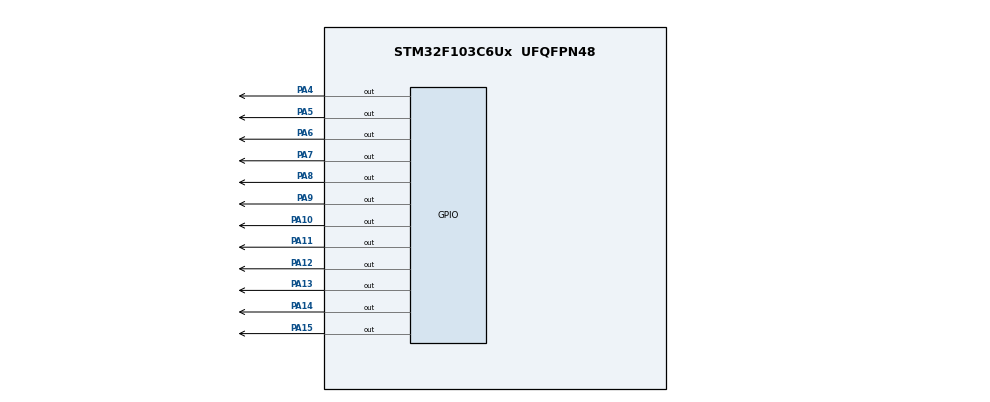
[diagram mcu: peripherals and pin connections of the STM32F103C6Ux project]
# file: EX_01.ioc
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Mcu.Family=STM32F1
Mcu.Name=STM32F103C6Ux
Mcu.Package=UFQFPN48
NVIC.PriorityGroup=NVIC_PRIORITYGROUP_4
PA10.Signal=GPIO_Output
PA11.Signal=GPIO_Output
PA12.Signal=GPIO_Output
PA13.Signal=GPIO_Output
PA14.Signal=GPIO_Output
PA15.Signal=GPIO_Output
PA4.Signal=GPIO_Output
PA5.Signal=GPIO_Output
PA6.Signal=GPIO_Output
PA7.Signal=GPIO_Output
PA8.Signal=GPIO_Output
PA9.Signal=GPIO_Output
ProjectManager.HeapSize=0x200
ProjectManager.StackSize=0x400
ProjectManager.TargetToolchain=STM32CubeIDE
RCC.APB1Freq_Value=8000000
RCC.APB2Freq_Value=8000000
VP_SYS_VS_ND.Mode=No_Debug
board=custom

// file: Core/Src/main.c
/* USER CODE BEGIN Header */
/**
  ******************************************************************************
  * @file           : main.c
  * @brief          : Main program body
  ******************************************************************************
  * @attention
  *
  * <h2><center>&copy; Copyright (c) 2026 STMicroelectronics.
  * All rights reserved.</center></h2>
  *
  * This software component is licensed by ST under BSD 3-Clause license,
  * the "License"; You may not use this file except in compliance with the
  * License. You may obtain a copy of the License at:
  *                        opensource.org/licenses/BSD-3-Clause
  *
  ******************************************************************************
  */
/* USER CODE END Header */
#include "main.h"

/* USER CODE BEGIN PV */
uint16_t LED[] = {
    0x0010,  // PA4
    0x0020,  // PA5
    0x0040,  // PA6
    0x0080,  // PA7
    0x0100,  // PA8
    0x0200,  // PA9
    0x0400,  // PA10
    0x0800,  // PA11
    0x1000,  // PA12
    0x2000,  // PA13
    0x4000,  // PA14
    0x8000   // PA15
};
/* USER CODE END PV */

void SystemClock_Config(void);
static void MX_GPIO_Init(void);

int main(void)
{

  /* MCU Configuration--------------------------------------------------------*/

  /* Reset of all peripherals, Initializes the Flash interface and the Systick. */
  HAL_Init();

  /* Configure the system clock */
  SystemClock_Config();

  /* Initialize all configured peripherals */
  MX_GPIO_Init();
  /* USER CODE BEGIN 2 */
  int counter = 0;
  /* USER CODE END 2 */

  /* Infinite loop */
  while (1)
  {
	  HAL_GPIO_WritePin(GPIOA, LED[counter], GPIO_PIN_RESET);
	  counter++;
	  if (counter == 12)
		  counter = 0;

	  HAL_GPIO_WritePin(GPIOA, LED[counter], GPIO_PIN_SET);
	  HAL_Delay(100);

  }
}

void SystemClock_Config(void)
{
  RCC_OscInitTypeDef RCC_OscInitStruct = {0};
  RCC_ClkInitTypeDef RCC_ClkInitStruct = {0};

  /** Initializes the RCC Oscillators according to the specified parameters
  * in the RCC_OscInitTypeDef structure.
  */
  RCC_OscInitStruct.OscillatorType = RCC_OSCILLATORTYPE_HSI;
  RCC_OscInitStruct.HSIState = RCC_HSI_ON;
  RCC_OscInitStruct.HSICalibrationValue = RCC_HSICALIBRATION_DEFAULT;
  RCC_OscInitStruct.PLL.PLLState = RCC_PLL_NONE;
  if (HAL_RCC_OscConfig(&RCC_OscInitStruct) != HAL_OK)
  {
    Error_Handler();
  }
  /** Initializes the CPU, AHB and APB buses clocks
  */
  RCC_ClkInitStruct.ClockType = RCC_CLOCKTYPE_HCLK|RCC_CLOCKTYPE_SYSCLK
                              |RCC_CLOCKTYPE_PCLK1|RCC_CLOCKTYPE_PCLK2;
  RCC_ClkInitStruct.SYSCLKSource = RCC_SYSCLKSOURCE_HSI;
  RCC_ClkInitStruct.AHBCLKDivider = RCC_SYSCLK_DIV1;
  RCC_ClkInitStruct.APB1CLKDivider = RCC_HCLK_DIV1;
  RCC_ClkInitStruct.APB2CLKDivider = RCC_HCLK_DIV1;

  if (HAL_RCC_ClockConfig(&RCC_ClkInitStruct, FLASH_LATENCY_0) != HAL_OK)
  {
    Error_Handler();
  }
}

static void MX_GPIO_Init(void)
{
  GPIO_InitTypeDef GPIO_InitStruct = {0};

  /* GPIO Ports Clock Enable */
  __HAL_RCC_GPIOA_CLK_ENABLE();

  /*Configure GPIO pin Output Level */
  HAL_GPIO_WritePin(GPIOA, GPIO_PIN_4|GPIO_PIN_5|GPIO_PIN_6|GPIO_PIN_7
                          |GPIO_PIN_8|GPIO_PIN_9|GPIO_PIN_10|GPIO_PIN_11
                          |GPIO_PIN_12|GPIO_PIN_13|GPIO_PIN_14|GPIO_PIN_15, GPIO_PIN_RESET);

  /*Configure GPIO pins : PA4 PA5 PA6 PA7
                           PA8 PA9 PA10 PA11
                           PA12 PA13 PA14 PA15 */
  GPIO_InitStruct.Pin = GPIO_PIN_4|GPIO_PIN_5|GPIO_PIN_6|GPIO_PIN_7
                          |GPIO_PIN_8|GPIO_PIN_9|GPIO_PIN_10|GPIO_PIN_11
                          |GPIO_PIN_12|GPIO_PIN_13|GPIO_PIN_14|GPIO_PIN_15;
  GPIO_InitStruct.Mode = GPIO_MODE_OUTPUT_PP;
  GPIO_InitStruct.Pull = GPIO_NOPULL;
  GPIO_InitStruct.Speed = GPIO_SPEED_FREQ_LOW;
  HAL_GPIO_Init(GPIOA, &GPIO_InitStruct);

}

void Error_Handler(void)
{
  __disable_irq();
  while (1)
  {
  }
}

/************************ (C) COPYRIGHT STMicroelectronics *****END OF FILE****/
